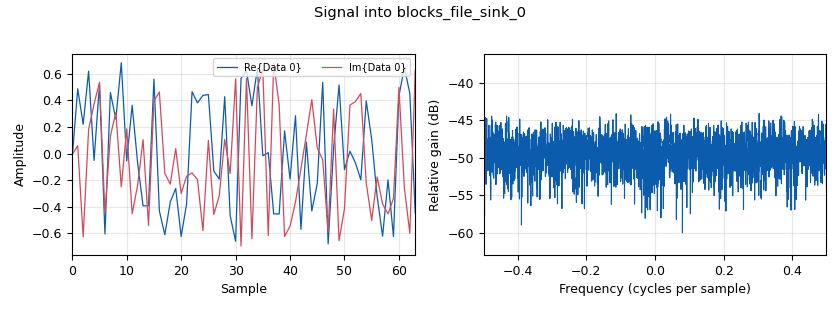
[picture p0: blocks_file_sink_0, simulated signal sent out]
options:
  parameters:
    generate_options: qt_gui
    id: test2
    output_language: python
    title: Not titled yet
  states: {}

blocks:
- name: samp_rate
  id: variable
  parameters:
    value: '100'
  states: {}
- name: analog_fastnoise_source_x_0
  id: analog_fastnoise_source_x
  parameters:
    amp: '1'
    noise_type: analog.GR_UNIFORM
    samples: '8192'
    seed: '0'
    type: complex
  states: {}
- name: blocks_file_sink_0
  id: blocks_file_sink
  parameters:
    file: in_xxx
    type: complex
    unbuffered: 'True'
  states: {}
- name: blocks_file_sink_0_0
  id: blocks_file_sink
  parameters:
    file: out_xxx
    type: complex
    unbuffered: 'True'
  states: {}
- name: blocks_throttle_0
  id: blocks_throttle
  parameters:
    samples_per_second: samp_rate
    type: complex
  states: {}
- name: ofdmflexframegen_0
  id: ofdmflexframegen
  parameters:
    in_type: complex
    mcs: 9 - r8/9 128-QAM
  states: {}

connections:
- [analog_fastnoise_source_x_0, '0', blocks_throttle_0, '0']
- [blocks_throttle_0, '0', blocks_file_sink_0, '0']
- [blocks_throttle_0, '0', ofdmflexframegen_0, '0']
- [ofdmflexframegen_0, '0', blocks_file_sink_0_0, '0']

metadata:
  file_format: 1
